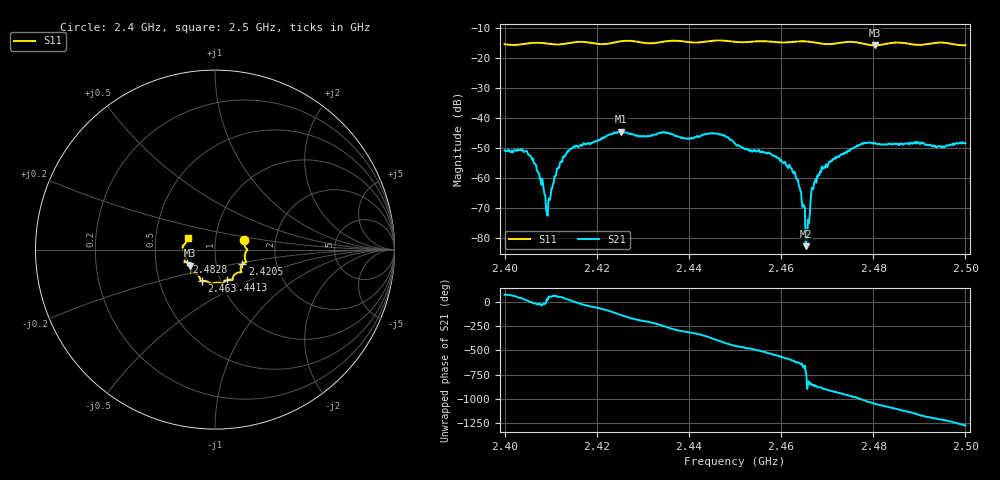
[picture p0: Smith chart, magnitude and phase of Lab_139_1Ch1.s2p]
# Hz S RI R 50
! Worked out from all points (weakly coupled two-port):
!   601 points, 2.4 GHz to 2.5 GHz, reference 50 ohm
!   highest |S21| = -44.52 dB at 2.4252 GHz (marker M1); lowest = -82.6 dB at 2.4653 GHz (marker M2)
!   lowest |S11| = -15.7 dB at 2.4803 GHz (marker M3), VSWR 1.39, Z = 37.4 - j6.81 ohm
!   |S11| at or under -10 dB: start of sweep to end of sweep
!   S12 and S22 are empty: the file has one direction only
!   S11 on the Smith chart (normalised r, x): 2.4 GHz: 1.38, +0.15; 2.4205 GHz: 1.34, -0.22; 2.4413 GHz: 1.08, -0.38; 2.463 GHz: 0.82, -0.29; 2.4828 GHz: 0.72, -0.10; 2.5 GHz: 0.73, +0.10
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2.4e9  0.1624 0.0523  0.000663 0.00285  0 0  0 0
2.405167e9  0.1768 0.00332  0.00239 0.000479  0 0  0 0
2.4095e9  0.1732 -0.0108  0.000271 0.000329  0 0  0 0
2.4125e9  0.1657 -0.0423  0.00122 0.00141  0 0  0 0
2.416667e9  0.1738 -0.0693  0.00341 -0.00119  0 0  0 0
2.4205e9  0.1519 -0.0809  0.00205 -0.0039  0 0  0 0
2.425167e9  0.1464 -0.1227  -0.00395 -0.00444  0 0  0 0
2.433333e9  0.1005 -0.1515  -0.00375 0.00413  0 0  0 0
2.441333e9  0.067 -0.1695  0.00397 0.00282  0 0  0 0
2.446e9  0.0422 -0.1923  0.00471 -0.00294  0 0  0 0
2.45e9  0.0248 -0.1855  -0.00016 -0.00379  0 0  0 0
2.457667e9  -0.0283 -0.1868  -0.00257 -0.000306  0 0  0 0
2.463e9  -0.0724 -0.1737  -0.000327 0.00121  0 0  0 0
2.465333e9  -0.0801 -0.1728  7.39e-05 4.52e-06  0 0  0 0
2.465833e9  -0.0805 -0.1714  -0.000114 -0.00017  0 0  0 0
2.466667e9  -0.0813 -0.1673  -0.000503 -0.000481  0 0  0 0
2.468333e9  -0.0859 -0.1547  -0.00108 -0.000364  0 0  0 0
2.470833e9  -0.1064 -0.1353  -0.00183 0.000627  0 0  0 0
2.480333e9  -0.1373 -0.0886  0.00336 0.00175  0 0  0 0
2.482833e9  -0.1588 -0.0699  0.00366 -5.94e-05  0 0  0 0
2.483333e9  -0.1628 -0.0683  0.00375 -0.000389  0 0  0 0
2.5e9  -0.1518 0.0642  -0.00369 0.00118  0 0  0 0
